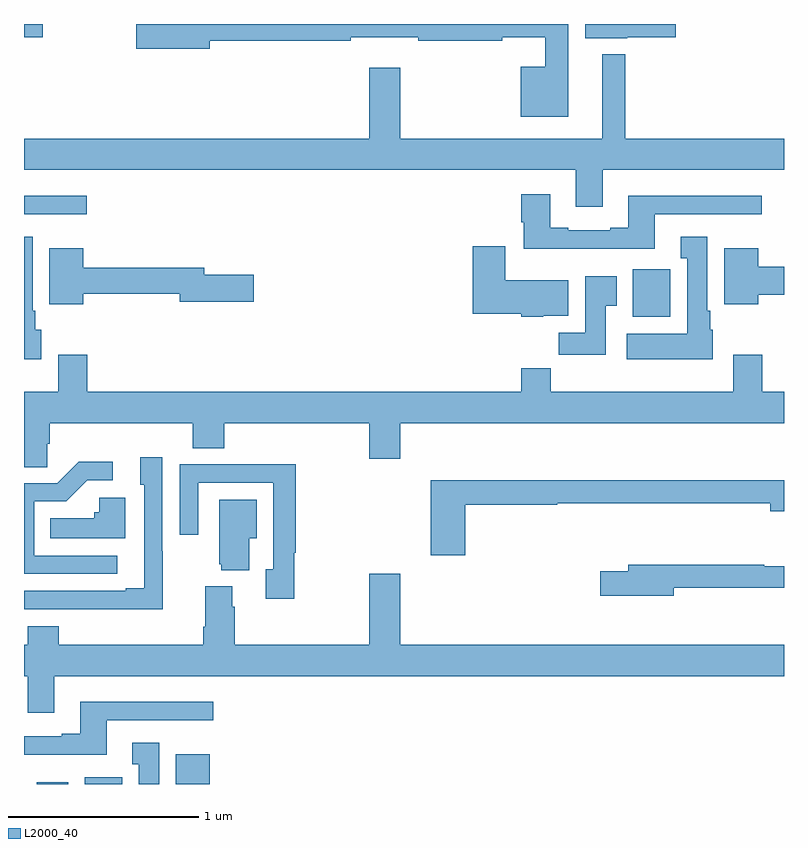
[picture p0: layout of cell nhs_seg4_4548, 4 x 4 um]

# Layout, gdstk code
import gdstk
lib = gdstk.Library(unit=1e-6, precision=1e-09)
def R(c, l, rs):  # rectangles x0, y0, x1, y1
    for r in rs: c.add(gdstk.rectangle(r[:2], r[2:], *l))
def P(c, l, *ps):  # polygons
    for p in ps: c.add(gdstk.Polygon(p, *l))
L2000_40 = (2000, 40)

nhs_seg4_4548 = lib.new_cell('nhs_seg4_4548')
R(nhs_seg4_4548, L2000_40, [(355.067,814.9,355.234,814.909), (355.319,814.9,355.516,814.936), (355.799,814.9,355.978,815.056), (358.205,817.358,358.401,817.609), (355,817.899,355.33,817.996), (355,818.831,355.099,818.9)])
P(nhs_seg4_4548, L2000_40, [(357.865,818.9),(355.59,818.9),(355.59,818.77),(355.978,818.77),(355.978,818.812),(356.72,818.812),(356.72,818.831),(357.076,818.831),(357.076,818.812),(357.518,818.812),(357.518,818.831),(357.744,818.831),(357.744,818.674),(357.614,818.674),(357.614,818.411),(357.865,818.411)],
  [(358.176,818.831),(358.429,818.831),(358.429,818.9),(357.953,818.9),(357.953,818.825),(358.176,818.825)],
  [(358.045,818.132),(359,818.132),(359,818.296),(358.165,818.296),(358.165,818.74),(358.043,818.74),(358.043,818.296),(356.98,818.296),(356.98,818.671),(356.816,818.671),(356.816,818.296),(355,818.296),(355,818.132),(357.905,818.132),(357.905,817.938),(358.045,817.938)],
  [(358.321,817.899),(358.882,817.899),(358.882,817.996),(358.181,817.996),(358.181,817.828),(358.085,817.828),(358.085,817.815),(357.865,817.815),(357.865,817.828),(357.769,817.828),(357.769,818.005),(357.617,818.005),(357.617,817.857),(357.629,817.857),(357.629,817.718),(358.321,817.718)],
  [(355.09,817.29),(355.06,817.29),(355.06,817.39),(355.045,817.39),(355.045,817.78),(355,817.78),(355,817.136),(355.09,817.136)],
  [(358.624,817.29),(358.612,817.29),(358.612,817.39),(358.597,817.39),(358.597,817.78),(358.457,817.78),(358.457,817.667),(358.49,817.667),(358.49,817.27),(358.173,817.27),(358.173,817.136),(358.624,817.136)],
  [(357.732,817.364),(357.865,817.364),(357.865,817.552),(357.532,817.552),(357.532,817.729),(357.362,817.729),(357.362,817.376),(357.618,817.376),(357.618,817.358),(357.732,817.358)],
  [(355.312,817.48),(355.82,817.48),(355.82,817.438),(356.209,817.438),(356.209,817.58),(355.948,817.58),(355.948,817.616),(355.312,817.616),(355.312,817.72),(355.133,817.72),(355.133,817.424),(355.312,817.424)],
  [(358.864,817.475),(359,817.475),(359,817.622),(358.864,817.622),(358.864,817.72),(358.685,817.72),(358.685,817.424),(358.864,817.424)],
  [(358.063,817.417),(358.12,817.417),(358.12,817.573),(357.953,817.573),(357.953,817.276),(357.814,817.276),(357.814,817.158),(358.063,817.158)],
  [(355.122,816.691),(355.136,816.691),(355.136,816.8),(355.889,816.8),(355.889,816.667),(356.054,816.667),(356.054,816.8),(356.816,816.8),(356.816,816.612),(356.98,816.612),(356.98,816.8),(359,816.8),(359,816.964),(358.886,816.964),(358.886,817.159),(358.733,817.159),(358.733,816.964),(357.773,816.964),(357.773,817.088),(357.617,817.088),(357.617,816.964),(355.334,816.964),(355.334,817.159),(355.181,817.159),(355.181,816.964),(355,816.964),(355,816.568),(355.122,816.568)],
  [(355.731,816.125),(355.728,816.125),(355.728,816.619),(355.613,816.619),(355.613,816.474),(355.632,816.474),(355.632,815.929),(355.535,815.929),(355.535,815.916),(355,815.916),(355,815.82),(355.267,815.82),(355.267,815.819),(355.731,815.819)],
  [(355.492,816.102),(355.053,816.102),(355.053,816.387),(355.222,816.387),(355.333,816.498),(355.468,816.498),(355.468,816.596),(355.289,816.596),(355.176,816.483),(355,816.483),(355,816.006),(355.492,816.006)],
  [(356.422,816.118),(356.429,816.118),(356.429,816.584),(356.137,816.584),(356.137,816.582),(355.821,816.582),(355.821,816.213),(355.917,816.213),(355.917,816.486),(356.313,816.486),(356.313,816.03),(356.273,816.03),(356.273,815.874),(356.422,815.874)],
  [(357.323,816.37),(357.806,816.37),(357.806,816.378),(358.928,816.378),(358.928,816.335),(359,816.335),(359,816.499),(357.14,816.499),(357.14,816.105),(357.323,816.105)],
  [(355.534,816.406),(355.395,816.406),(355.395,816.33),(355.369,816.33),(355.369,816.298),(355.138,816.298),(355.138,816.194),(355.534,816.194)],
  [(356.185,816.194),(356.224,816.194),(356.224,816.397),(356.027,816.397),(356.027,816.057),(356.039,816.057),(356.039,816.026),(356.185,816.026)],
  [(358.42,815.934),(359,815.934),(359,816.047),(358.897,816.047),(358.897,816.055),(358.181,816.055),(358.181,816.021),(358.032,816.021),(358.032,815.891),(358.42,815.891)],
  [(355.159,815.468),(359,815.468),(359,815.632),(356.98,815.632),(356.98,816.007),(356.816,816.007),(356.816,815.632),(356.108,815.632),(356.108,815.834),(356.095,815.834),(356.095,815.941),(355.955,815.941),(355.955,815.728),(355.943,815.728),(355.943,815.632),(355.184,815.632),(355.184,815.731),(355.019,815.731),(355.019,815.632),(355,815.632),(355,815.468),(355.019,815.468),(355.019,815.274),(355.159,815.274)],
  [(355.435,815.235),(355.996,815.235),(355.996,815.332),(355.295,815.332),(355.295,815.164),(355.199,815.164),(355.199,815.151),(355,815.151),(355,815.054),(355.435,815.054)],
  [(355.711,815.116),(355.571,815.116),(355.571,815.003),(355.604,815.003),(355.604,814.9),(355.711,814.9)])

lib.write_gds('nhs_seg4_4548.gds')
